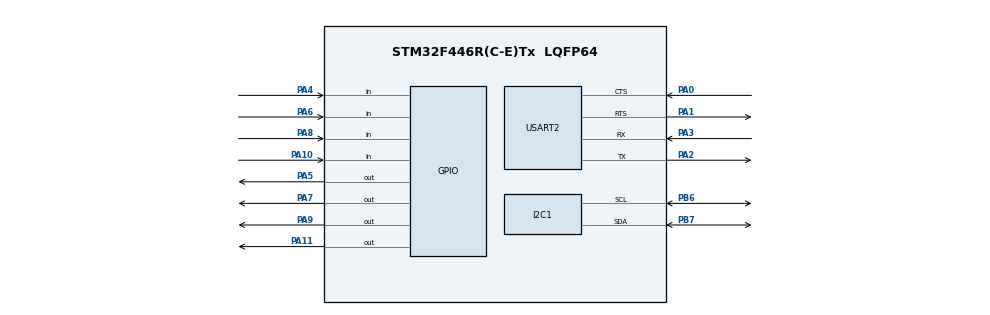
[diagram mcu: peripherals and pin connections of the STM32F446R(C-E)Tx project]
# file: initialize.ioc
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Mcu.Family=STM32F4
Mcu.Name=STM32F446R(C-E)Tx
Mcu.Package=LQFP64
NVIC.PriorityGroup=NVIC_PRIORITYGROUP_4
PA0-WKUP.Mode=CTS_RTS
PA0-WKUP.Signal=USART2_CTS
PA1.Mode=CTS_RTS
PA1.Signal=USART2_RTS
PA10.Signal=GPIO_Input
PA11.Signal=GPIO_Output
PA13.Mode=Serial_Wire
PA13.Signal=SYS_JTMS-SWDIO
PA14.Mode=Serial_Wire
PA14.Signal=SYS_JTCK-SWCLK
PA2.Mode=Asynchronous
PA2.Signal=USART2_TX
PA3.Mode=Asynchronous
PA3.Signal=USART2_RX
PA4.Signal=GPIO_Input
PA5.Signal=GPIO_Output
PA6.Signal=GPIO_Input
PA7.Signal=GPIO_Output
PA8.Signal=GPIO_Input
PA9.Signal=GPIO_Output
PB6.Mode=I2C
PB6.Signal=I2C1_SCL
PB7.Mode=I2C
PB7.Signal=I2C1_SDA
PH0-OSC_IN.Mode=HSE-External-Oscillator
PH0-OSC_IN.Signal=RCC_OSC_IN
PH1-OSC_OUT.Mode=HSE-External-Oscillator
PH1-OSC_OUT.Signal=RCC_OSC_OUT
ProjectManager.HeapSize=0x200
ProjectManager.StackSize=0x400
ProjectManager.TargetToolchain=STM32CubeIDE
RCC.CortexFreq_Value=16000000
RCC.USBFreq_Value=96000000
RCC.VCOOutputFreq_Value=192000000
TIM1.Prescaler=15
USART2.VirtualMode=VM_ASYNC
VP_TIM1_VS_ClockSourceINT.Mode=Internal
board=custom

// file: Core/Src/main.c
/* USER CODE BEGIN Header */
/**
  ******************************************************************************
  * @file           : main.c
  * @brief          : Main program body
  ******************************************************************************
  * @attention
  *
  * Copyright (c) 2025 STMicroelectronics.
  * All rights reserved.
  *
  * This software is licensed under terms that can be found in the LICENSE file
  * in the root directory of this software component.
  * If no LICENSE file comes with this software, it is provided AS-IS.
  *
  ******************************************************************************
  */
/* USER CODE END Header */
#include "main.h"

/* USER CODE BEGIN PD */

#define DT_Pin1 	GPIO_PIN_10
#define DT_Pin2 	GPIO_PIN_8
#define DT_Pin3 	GPIO_PIN_4
#define DT_Pin4 	GPIO_PIN_6

#define SDK_Pin1 	GPIO_PIN_11
#define SDK_Pin2 	GPIO_PIN_9
#define SDK_Pin3 	GPIO_PIN_5
#define SDK_Pin4 	GPIO_PIN_7

#define DT_Port 	GPIOA
#define SDK_Port	GPIOA

#define ADXL345_ADDR       (0x53 << 1)  // 注意：I2C位址左移1位（因為HAL使用8位元格式）
#define ADXL345_DEVID_REG  0x00
#define ADXL345_POWER_CTL  0x2D
#define ADXL345_DATAX0     0x32

/* USER CODE END PD */

I2C_HandleTypeDef hi2c1;

TIM_HandleTypeDef htim1;

UART_HandleTypeDef huart2;

/* USER CODE BEGIN PV */

// ----------------- hx711 begin ---------------------------
int32_t load_num1, load_num2, load_num3, load_num4;
int64_t load_sum1, load_sum2, load_sum3, load_sum4;
int32_t avg_load1, avg_load2, avg_load3, avg_load4;

// parameters for calibration
int32_t tare1 = 8858327, tare2 = 8854343, tare3 = 8783827, tare4 = 8231851;
float weight_c = 5 * 1000000; //in micrograme
int32_t weight_load1=332172, weight_load2=177465, weight_load3=266040, weight_load4=810000;
float force1, force2, force3, force4;

// defined parameters for testing and debug
int c_in_count = 0;
int down = 0;
// ------------------ hx711 end ----------------------------

// ------------------ ADXL345 begin ------------------------
int16_t gx_num, gy_num, gz_num;
float ax, ay, az;
// ------------------ ADXL345 end --------------------------

// ------------------ send to serial -----------------------
char msg[64];
// ------------------ send to serial end -------------------

/* USER CODE END PV */

void SystemClock_Config(void);
static void MX_GPIO_Init(void);
static void MX_I2C1_Init(void);
static void MX_TIM1_Init(void);
static void MX_USART2_UART_Init(void);

/* USER CODE BEGIN 0 */

void HX711_delay_us(uint32_t us)
{
    // manual timer delay
    for (volatile uint32_t i = 0; i < us * 8; i++);
}

int32_t HX711_Read(GPIO_TypeDef* HX711_DT_GPIO_Port, uint16_t HX711_DT_Pin, GPIO_TypeDef* HX711_SCK_GPIO_Port, uint16_t HX711_SCK_Pin)
{
    int32_t count = 0;
    uint8_t i;

    down = 0;
    // waiting for DOUT down, data readable
    while(HAL_GPIO_ReadPin(HX711_DT_GPIO_Port, HX711_DT_Pin));
    down = 1;

    for (i = 0; i < 24; i++)
    {
        HAL_GPIO_WritePin(HX711_SCK_GPIO_Port, HX711_SCK_Pin, GPIO_PIN_SET);
        HX711_delay_us(1);

        count = count << 1;
        if (HAL_GPIO_ReadPin(HX711_DT_GPIO_Port, HX711_DT_Pin))
            count++;

        HAL_GPIO_WritePin(HX711_SCK_GPIO_Port, HX711_SCK_Pin, GPIO_PIN_RESET);
        HX711_delay_us(1);
    }

    // 第25個時脈：設定增益 (這裡預設 128)
    HAL_GPIO_WritePin(HX711_SCK_GPIO_Port, HX711_SCK_Pin, GPIO_PIN_SET);
    HX711_delay_us(1);
    HAL_GPIO_WritePin(HX711_SCK_GPIO_Port, HX711_SCK_Pin, GPIO_PIN_RESET);
    HX711_delay_us(1);

    // 轉成補數
    count ^= 0x800000;
    return count;
}

void ADXL345_Init(I2C_HandleTypeDef *hi2c) {
    uint8_t data;

    // 確認 device ID 是否正確（應為 0xE5）
    HAL_I2C_Mem_Read(hi2c, ADXL345_ADDR, ADXL345_DEVID_REG, I2C_MEMADD_SIZE_8BIT, &data, 1, HAL_MAX_DELAY);
    if (data != 0xE5) {
        // 錯誤處理
    }

    // 開啟測量模式（將 POWER_CTL 的 bit3 設為 1）
    data = 0x08;
    HAL_I2C_Mem_Write(hi2c, ADXL345_ADDR, ADXL345_POWER_CTL, I2C_MEMADD_SIZE_8BIT, &data, 1, HAL_MAX_DELAY);
}

void ADXL345_ReadXYZ(I2C_HandleTypeDef *hi2c, int16_t *x, int16_t *y, int16_t *z) {
    uint8_t buffer[6];
    HAL_I2C_Mem_Read(hi2c, ADXL345_ADDR, ADXL345_DATAX0, I2C_MEMADD_SIZE_8BIT, buffer, 6, HAL_MAX_DELAY);
    *x = (int16_t)(buffer[1] << 8 | buffer[0]);
    *y = (int16_t)(buffer[3] << 8 | buffer[2]);
    *z = (int16_t)(buffer[5] << 8 | buffer[4]);
}

/* USER CODE END 0 */

int main(void)
{

  /* MCU Configuration--------------------------------------------------------*/

  /* Reset of all peripherals, Initializes the Flash interface and the Systick. */
  HAL_Init();

  /* Configure the system clock */
  SystemClock_Config();

  /* Initialize all configured peripherals */
  MX_GPIO_Init();
  MX_I2C1_Init();
  MX_TIM1_Init();
  MX_USART2_UART_Init();
  /* USER CODE BEGIN 2 */

  int count_num = 0;
  load_sum1 = 0;
  load_sum2 = 0;
  load_sum3 = 0;
  load_sum4 = 0;

  ADXL345_Init(&hi2c1);

  /* USER CODE END 2 */

  /* Infinite loop */
  while (1)
  {

    /* USER CODE BEGIN 3 */
	c_in_count++;

	load_num1 = HX711_Read(DT_Port, DT_Pin1, SDK_Port, SDK_Pin1);
	load_num2 = HX711_Read(DT_Port, DT_Pin2, SDK_Port, SDK_Pin2);
	load_num3 = HX711_Read(DT_Port, DT_Pin3, SDK_Port, SDK_Pin3);
	load_num4 = HX711_Read(DT_Port, DT_Pin4, SDK_Port, SDK_Pin4);

	weight_load1 = load_num1 - tare1;
	weight_load2 = load_num2 - tare2;
	weight_load3 = load_num3 - tare3;
	weight_load4 = load_num4 = tare4;

	force1 = (load_num1 - tare1) * (weight_load1/(weight_c/4)) * 0.001;
	force2 = (load_num2 - tare2) * (weight_load2/(weight_c/4)) * 0.001;
	force3 = (load_num3 - tare3) * (weight_load3/(weight_c/4)) * 0.001;
	force4 = (load_num4 - tare4) * (weight_load4/(weight_c/4)) * 0.001;

	if (count_num < 500){
		load_sum1 = load_sum1 + load_num1;
		load_sum2 = load_sum2 + load_num2;
		load_sum3 = load_sum3 + load_num3;
		load_sum4 = load_sum4 + load_num4;
		count_num++;
	}
	else{
		avg_load1 = load_sum1 / count_num;
		avg_load2 = load_sum2 / count_num;
		avg_load3 = load_sum3 / count_num;
		avg_load4 = load_sum4 / count_num;

		count_num = 0;
		load_sum1 = 0;
		load_sum2 = 0;
		load_sum3 = 0;
		load_sum4 = 0;
	}

	ADXL345_ReadXYZ(&hi2c1, &gx_num, &gy_num, &gz_num);
	ax = gx_num / 256.0;
	ay = gy_num / 256.0;
	az = gy_num / 256.0;

	int len = sprintf(msg, "%.6f,%.6f,%.6f,%.6f,&.6f,%.6f,%.6f\r\n", force1, force2, force3, force4, ax, ay, az);
	HAL_UART_Transmit(&huart2, (uint8_t*)msg, len, 1);

	HAL_Delay(50);
  }
  /* USER CODE END 3 */
}

void SystemClock_Config(void)
{
  RCC_OscInitTypeDef RCC_OscInitStruct = {0};
  RCC_ClkInitTypeDef RCC_ClkInitStruct = {0};

  /** Configure the main internal regulator output voltage
  */
  __HAL_RCC_PWR_CLK_ENABLE();
  __HAL_PWR_VOLTAGESCALING_CONFIG(PWR_REGULATOR_VOLTAGE_SCALE3);

  /** Initializes the RCC Oscillators according to the specified parameters
  * in the RCC_OscInitTypeDef structure.
  */
  RCC_OscInitStruct.OscillatorType = RCC_OSCILLATORTYPE_HSI;
  RCC_OscInitStruct.HSIState = RCC_HSI_ON;
  RCC_OscInitStruct.HSICalibrationValue = RCC_HSICALIBRATION_DEFAULT;
  RCC_OscInitStruct.PLL.PLLState = RCC_PLL_NONE;
  if (HAL_RCC_OscConfig(&RCC_OscInitStruct) != HAL_OK)
  {
    Error_Handler();
  }

  /** Initializes the CPU, AHB and APB buses clocks
  */
  RCC_ClkInitStruct.ClockType = RCC_CLOCKTYPE_HCLK|RCC_CLOCKTYPE_SYSCLK
                              |RCC_CLOCKTYPE_PCLK1|RCC_CLOCKTYPE_PCLK2;
  RCC_ClkInitStruct.SYSCLKSource = RCC_SYSCLKSOURCE_HSI;
  RCC_ClkInitStruct.AHBCLKDivider = RCC_SYSCLK_DIV1;
  RCC_ClkInitStruct.APB1CLKDivider = RCC_HCLK_DIV1;
  RCC_ClkInitStruct.APB2CLKDivider = RCC_HCLK_DIV1;

  if (HAL_RCC_ClockConfig(&RCC_ClkInitStruct, FLASH_LATENCY_0) != HAL_OK)
  {
    Error_Handler();
  }
}

static void MX_I2C1_Init(void)
{

  hi2c1.Instance = I2C1;
  hi2c1.Init.ClockSpeed = 100000;
  hi2c1.Init.DutyCycle = I2C_DUTYCYCLE_2;
  hi2c1.Init.OwnAddress1 = 0;
  hi2c1.Init.AddressingMode = I2C_ADDRESSINGMODE_7BIT;
  hi2c1.Init.DualAddressMode = I2C_DUALADDRESS_DISABLE;
  hi2c1.Init.OwnAddress2 = 0;
  hi2c1.Init.GeneralCallMode = I2C_GENERALCALL_DISABLE;
  hi2c1.Init.NoStretchMode = I2C_NOSTRETCH_DISABLE;
  if (HAL_I2C_Init(&hi2c1) != HAL_OK)
  {
    Error_Handler();
  }

}

static void MX_TIM1_Init(void)
{

  TIM_ClockConfigTypeDef sClockSourceConfig = {0};
  TIM_MasterConfigTypeDef sMasterConfig = {0};

  htim1.Instance = TIM1;
  htim1.Init.Prescaler = 15;
  htim1.Init.CounterMode = TIM_COUNTERMODE_UP;
  htim1.Init.Period = 65535;
  htim1.Init.ClockDivision = TIM_CLOCKDIVISION_DIV1;
  htim1.Init.RepetitionCounter = 0;
  htim1.Init.AutoReloadPreload = TIM_AUTORELOAD_PRELOAD_DISABLE;
  if (HAL_TIM_Base_Init(&htim1) != HAL_OK)
  {
    Error_Handler();
  }
  sClockSourceConfig.ClockSource = TIM_CLOCKSOURCE_INTERNAL;
  if (HAL_TIM_ConfigClockSource(&htim1, &sClockSourceConfig) != HAL_OK)
  {
    Error_Handler();
  }
  sMasterConfig.MasterOutputTrigger = TIM_TRGO_RESET;
  sMasterConfig.MasterSlaveMode = TIM_MASTERSLAVEMODE_DISABLE;
  if (HAL_TIMEx_MasterConfigSynchronization(&htim1, &sMasterConfig) != HAL_OK)
  {
    Error_Handler();
  }

}

static void MX_USART2_UART_Init(void)
{

  huart2.Instance = USART2;
  huart2.Init.BaudRate = 115200;
  huart2.Init.WordLength = UART_WORDLENGTH_8B;
  huart2.Init.StopBits = UART_STOPBITS_1;
  huart2.Init.Parity = UART_PARITY_NONE;
  huart2.Init.Mode = UART_MODE_TX_RX;
  huart2.Init.HwFlowCtl = UART_HWCONTROL_RTS_CTS;
  huart2.Init.OverSampling = UART_OVERSAMPLING_16;
  if (HAL_UART_Init(&huart2) != HAL_OK)
  {
    Error_Handler();
  }

}

static void MX_GPIO_Init(void)
{
  GPIO_InitTypeDef GPIO_InitStruct = {0};

  /* GPIO Ports Clock Enable */
  __HAL_RCC_GPIOH_CLK_ENABLE();
  __HAL_RCC_GPIOA_CLK_ENABLE();
  __HAL_RCC_GPIOB_CLK_ENABLE();

  /*Configure GPIO pin Output Level */
  HAL_GPIO_WritePin(GPIOA, GPIO_PIN_5|GPIO_PIN_7|GPIO_PIN_9|GPIO_PIN_11, GPIO_PIN_RESET);

  /*Configure GPIO pins : PA4 PA6 PA8 PA10 */
  GPIO_InitStruct.Pin = GPIO_PIN_4|GPIO_PIN_6|GPIO_PIN_8|GPIO_PIN_10;
  GPIO_InitStruct.Mode = GPIO_MODE_INPUT;
  GPIO_InitStruct.Pull = GPIO_NOPULL;
  HAL_GPIO_Init(GPIOA, &GPIO_InitStruct);

  /*Configure GPIO pins : PA5 PA7 PA9 PA11 */
  GPIO_InitStruct.Pin = GPIO_PIN_5|GPIO_PIN_7|GPIO_PIN_9|GPIO_PIN_11;
  GPIO_InitStruct.Mode = GPIO_MODE_OUTPUT_PP;
  GPIO_InitStruct.Pull = GPIO_NOPULL;
  GPIO_InitStruct.Speed = GPIO_SPEED_FREQ_LOW;
  HAL_GPIO_Init(GPIOA, &GPIO_InitStruct);

}

void Error_Handler(void)
{
  __disable_irq();
  while (1)
  {
  }
}
